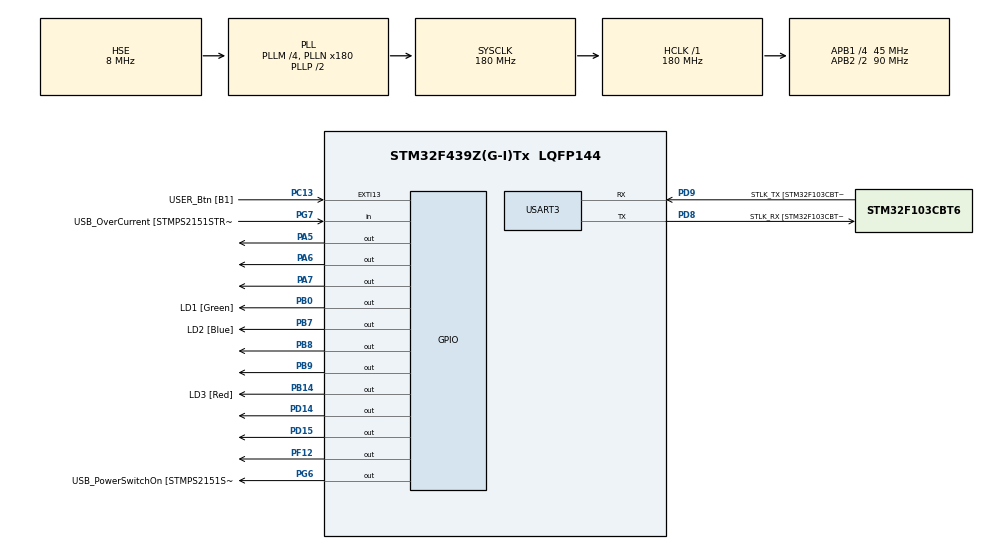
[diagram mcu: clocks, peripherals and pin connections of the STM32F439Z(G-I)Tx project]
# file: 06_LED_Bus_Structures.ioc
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Mcu.Family=STM32F4
Mcu.Name=STM32F439Z(G-I)Tx
Mcu.Package=LQFP144
NVIC.PriorityGroup=NVIC_PRIORITYGROUP_4
PA13.GPIO_Label=TMS
PA13.Mode=Serial_Wire
PA13.Signal=SYS_JTMS-SWDIO
PA14.GPIO_Label=TCK
PA14.Mode=Serial_Wire
PA14.Signal=SYS_JTCK-SWCLK
PA5.Signal=GPIO_Output
PA6.Signal=GPIO_Output
PA7.Signal=GPIO_Output
PB0.GPIO_Label=LD1 [Green]
PB0.Signal=GPIO_Output
PB14.GPIO_Label=LD3 [Red]
PB14.Signal=GPIO_Output
PB7.GPIO_Label=LD2 [Blue]
PB7.Signal=GPIO_Output
PB8.Signal=GPIO_Output
PB9.Signal=GPIO_Output
PC13.GPIO_Label=USER_Btn [B1]
PC13.Signal=GPXTI13
PC14/OSC32_IN.Mode=LSE-External-Oscillator
PC14/OSC32_IN.Signal=RCC_OSC32_IN
PC15/OSC32_OUT.Mode=LSE-External-Oscillator
PC15/OSC32_OUT.Signal=RCC_OSC32_OUT
PD14.Signal=GPIO_Output
PD15.Signal=GPIO_Output
PD8.GPIO_Label=STLK_RX [STM32F103CBT6_PA3]
PD8.Mode=Asynchronous
PD8.Signal=USART3_TX
PD9.GPIO_Label=STLK_TX [STM32F103CBT6_PA2]
PD9.Mode=Asynchronous
PD9.Signal=USART3_RX
PF12.Signal=GPIO_Output
PG6.GPIO_Label=USB_PowerSwitchOn [STMPS2151STR_EN]
PG6.Signal=GPIO_Output
PG7.GPIO_Label=USB_OverCurrent [STMPS2151STR_FAULT]
PG7.Signal=GPIO_Input
PH0/OSC_IN.GPIO_Label=MCO [STM32F103CBT6_PA8]
PH0/OSC_IN.Mode=HSE-External-Oscillator
PH0/OSC_IN.Signal=RCC_OSC_IN
PH1/OSC_OUT.Mode=HSE-External-Oscillator
PH1/OSC_OUT.Signal=RCC_OSC_OUT
ProjectManager.HeapSize=0x200
ProjectManager.StackSize=0x400
ProjectManager.TargetToolchain=STM32CubeIDE
RCC.48MHZClocksFreq_Value=51428571.428571425
RCC.AHBFreq_Value=180000000
RCC.APB1CLKDivider=RCC_HCLK_DIV4
RCC.APB1Freq_Value=45000000
RCC.APB1TimFreq_Value=90000000
RCC.APB2CLKDivider=RCC_HCLK_DIV2
RCC.APB2Freq_Value=90000000
RCC.APB2TimFreq_Value=180000000
RCC.CortexFreq_Value=180000000
RCC.HCLKFreq_Value=180000000
RCC.HSE_VALUE=8000000
RCC.HSI_VALUE=16000000
RCC.PLLM=4
RCC.PLLMUL=RCC_PLL_MUL9
RCC.PLLN=180
RCC.PLLQ=7
RCC.PLLSourceVirtual=RCC_PLLSOURCE_HSE
RCC.PRESCALERUSB=RCC_USBCLKSOURCE_PLL_DIV1_5
RCC.SYSCLKFreq_VALUE=180000000
RCC.SYSCLKSource=RCC_SYSCLKSOURCE_PLLCLK
RCC.SYSCLKSourceVirtual=RCC_SYSCLKSOURCE_PLLCLK
RCC.USBFreq_Value=48000000
RCC.VCOOutputFreq_Value=360000000
USART3.VirtualMode=VM_ASYNC
board=NUCLEO-F439ZI

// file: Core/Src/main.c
/* USER CODE BEGIN Header */
/**
  ******************************************************************************
  * @file           : main.c
  * @brief          : Main program body
  ******************************************************************************
  * @attention
  *
  * Copyright (c) 2026 STMicroelectronics.
  * All rights reserved.
  *
  * This software is licensed under terms that can be found in the LICENSE file
  * in the root directory of this software component.
  * If no LICENSE file comes with this software, it is provided AS-IS.
  *
  ******************************************************************************
  */
/* USER CODE END Header */
#include "main.h"

/* USER CODE BEGIN Includes */

#include <stdio.h>
#include <string.h>

/* USER CODE END Includes */

/* USER CODE BEGIN PTD */

// Representa un pin físico individual
typedef struct {
    GPIO_TypeDef* port;  // GPIOA, GPIOB, etc.
    uint16_t pin;       // GPIO_PIN_0, etc.
} GPIO_Config_t;

// Representa la barra de LEDs genérica
typedef struct {
    GPIO_Config_t* leds; // Puntero a un arreglo de configuraciones
    uint8_t count;       // Cantidad de LEDs
} LedBar_t;

/* USER CODE END PTD */

UART_HandleTypeDef huart3;

/* USER CODE BEGIN PV */

// 1. Definimos los pines físicos (pueden ser de cualquier puerto)
GPIO_Config_t configuracion_leds[] = {
    {GPIOB, GPIO_PIN_8}, {GPIOB, GPIO_PIN_9},
    {GPIOA, GPIO_PIN_5}, {GPIOA, GPIO_PIN_6},
    {GPIOA, GPIO_PIN_7}, {GPIOD, GPIO_PIN_14},
    {GPIOD, GPIO_PIN_15}, {GPIOF, GPIO_PIN_12}
};

// 2. Inicializamos la estructura usando la constante calculada
LedBar_t miBarraGenerica = {configuracion_leds};

// 3. Usamos sizeof para calcular la cantidad de elementos automáticamente
// Fórmula: Tamaño total del arreglo / Tamaño de un solo elemento
#define LED_COUNT (sizeof(configuracion_leds) / sizeof(configuracion_leds[0]))

/* USER CODE END PV */

void SystemClock_Config(void);
static void MX_GPIO_Init(void);
static void MX_USART3_UART_Init(void);
/* USER CODE BEGIN PFP */
/* Prototipos */
void Debug_Log(const char *msg);
/* USER CODE END PFP */

/* USER CODE BEGIN 0 */

void Debug_Log(const char *msg) {
    HAL_UART_Transmit(&huart3, (uint8_t*)msg, strlen(msg), 100);
}

/* USER CODE END 0 */

int main(void)
{

  /* MCU Configuration--------------------------------------------------------*/

  /* Reset of all peripherals, Initializes the Flash interface and the Systick. */
  HAL_Init();

  /* Configure the system clock */
  SystemClock_Config();

  /* Initialize all configured peripherals */
  MX_GPIO_Init();
  MX_USART3_UART_Init();
  /* USER CODE BEGIN 2 */

  char buffer[64];
  Debug_Log("\r\n--- EJEMPLO 06: ESTRUCTURAS + SIZEOF AUTOMÁTICO ---\r\n");

  sprintf(buffer, "Cantidad de LEDs detectada: %u\r\n", LED_COUNT);
  Debug_Log(buffer);

  /* USER CODE END 2 */

  /* Infinite loop */
  while (1)
  {

    /* USER CODE BEGIN 3 */

	  // El bucle for ahora es 100% dinámico
	      for (int i = 0; i < LED_COUNT; i++)
	      {
	          HAL_GPIO_WritePin(miBarraGenerica.leds[i].port,
	                            miBarraGenerica.leds[i].pin,
	                            GPIO_PIN_SET);
	          HAL_Delay(100);
	          HAL_GPIO_WritePin(miBarraGenerica.leds[i].port,
	                            miBarraGenerica.leds[i].pin,
	                            GPIO_PIN_RESET);
	      }

  }
  /* USER CODE END 3 */
}

void SystemClock_Config(void)
{
  RCC_OscInitTypeDef RCC_OscInitStruct = {0};
  RCC_ClkInitTypeDef RCC_ClkInitStruct = {0};

  /** Configure the main internal regulator output voltage
  */
  __HAL_RCC_PWR_CLK_ENABLE();
  __HAL_PWR_VOLTAGESCALING_CONFIG(PWR_REGULATOR_VOLTAGE_SCALE1);

  /** Initializes the RCC Oscillators according to the specified parameters
  * in the RCC_OscInitTypeDef structure.
  */
  RCC_OscInitStruct.OscillatorType = RCC_OSCILLATORTYPE_HSE;
  RCC_OscInitStruct.HSEState = RCC_HSE_ON;
  RCC_OscInitStruct.PLL.PLLState = RCC_PLL_ON;
  RCC_OscInitStruct.PLL.PLLSource = RCC_PLLSOURCE_HSE;
  RCC_OscInitStruct.PLL.PLLM = 4;
  RCC_OscInitStruct.PLL.PLLN = 180;
  RCC_OscInitStruct.PLL.PLLP = RCC_PLLP_DIV2;
  RCC_OscInitStruct.PLL.PLLQ = 7;
  if (HAL_RCC_OscConfig(&RCC_OscInitStruct) != HAL_OK)
  {
    Error_Handler();
  }

  /** Activate the Over-Drive mode
  */
  if (HAL_PWREx_EnableOverDrive() != HAL_OK)
  {
    Error_Handler();
  }

  /** Initializes the CPU, AHB and APB buses clocks
  */
  RCC_ClkInitStruct.ClockType = RCC_CLOCKTYPE_HCLK|RCC_CLOCKTYPE_SYSCLK
                              |RCC_CLOCKTYPE_PCLK1|RCC_CLOCKTYPE_PCLK2;
  RCC_ClkInitStruct.SYSCLKSource = RCC_SYSCLKSOURCE_PLLCLK;
  RCC_ClkInitStruct.AHBCLKDivider = RCC_SYSCLK_DIV1;
  RCC_ClkInitStruct.APB1CLKDivider = RCC_HCLK_DIV4;
  RCC_ClkInitStruct.APB2CLKDivider = RCC_HCLK_DIV2;

  if (HAL_RCC_ClockConfig(&RCC_ClkInitStruct, FLASH_LATENCY_5) != HAL_OK)
  {
    Error_Handler();
  }
}

static void MX_USART3_UART_Init(void)
{

  huart3.Instance = USART3;
  huart3.Init.BaudRate = 115200;
  huart3.Init.WordLength = UART_WORDLENGTH_8B;
  huart3.Init.StopBits = UART_STOPBITS_1;
  huart3.Init.Parity = UART_PARITY_NONE;
  huart3.Init.Mode = UART_MODE_TX_RX;
  huart3.Init.HwFlowCtl = UART_HWCONTROL_NONE;
  huart3.Init.OverSampling = UART_OVERSAMPLING_16;
  if (HAL_UART_Init(&huart3) != HAL_OK)
  {
    Error_Handler();
  }

}

static void MX_GPIO_Init(void)
{
  GPIO_InitTypeDef GPIO_InitStruct = {0};

  /* GPIO Ports Clock Enable */
  __HAL_RCC_GPIOC_CLK_ENABLE();
  __HAL_RCC_GPIOH_CLK_ENABLE();
  __HAL_RCC_GPIOA_CLK_ENABLE();
  __HAL_RCC_GPIOB_CLK_ENABLE();
  __HAL_RCC_GPIOF_CLK_ENABLE();
  __HAL_RCC_GPIOD_CLK_ENABLE();
  __HAL_RCC_GPIOG_CLK_ENABLE();

  /*Configure GPIO pin Output Level */
  HAL_GPIO_WritePin(GPIOA, GPIO_PIN_5|GPIO_PIN_6|GPIO_PIN_7, GPIO_PIN_RESET);

  /*Configure GPIO pin Output Level */
  HAL_GPIO_WritePin(GPIOB, LD1_Pin|LD3_Pin|LD2_Pin|GPIO_PIN_8
                          |GPIO_PIN_9, GPIO_PIN_RESET);

  /*Configure GPIO pin Output Level */
  HAL_GPIO_WritePin(GPIOF, GPIO_PIN_12, GPIO_PIN_RESET);

  /*Configure GPIO pin Output Level */
  HAL_GPIO_WritePin(GPIOD, GPIO_PIN_14|GPIO_PIN_15, GPIO_PIN_RESET);

  /*Configure GPIO pin Output Level */
  HAL_GPIO_WritePin(USB_PowerSwitchOn_GPIO_Port, USB_PowerSwitchOn_Pin, GPIO_PIN_RESET);

  /*Configure GPIO pin : USER_Btn_Pin */
  GPIO_InitStruct.Pin = USER_Btn_Pin;
  GPIO_InitStruct.Mode = GPIO_MODE_IT_RISING;
  GPIO_InitStruct.Pull = GPIO_NOPULL;
  HAL_GPIO_Init(USER_Btn_GPIO_Port, &GPIO_InitStruct);

  /*Configure GPIO pins : PA5 PA6 PA7 */
  GPIO_InitStruct.Pin = GPIO_PIN_5|GPIO_PIN_6|GPIO_PIN_7;
  GPIO_InitStruct.Mode = GPIO_MODE_OUTPUT_PP;
  GPIO_InitStruct.Pull = GPIO_NOPULL;
  GPIO_InitStruct.Speed = GPIO_SPEED_FREQ_LOW;
  HAL_GPIO_Init(GPIOA, &GPIO_InitStruct);

  /*Configure GPIO pins : LD1_Pin LD3_Pin LD2_Pin PB8
                           PB9 */
  GPIO_InitStruct.Pin = LD1_Pin|LD3_Pin|LD2_Pin|GPIO_PIN_8
                          |GPIO_PIN_9;
  GPIO_InitStruct.Mode = GPIO_MODE_OUTPUT_PP;
  GPIO_InitStruct.Pull = GPIO_NOPULL;
  GPIO_InitStruct.Speed = GPIO_SPEED_FREQ_LOW;
  HAL_GPIO_Init(GPIOB, &GPIO_InitStruct);

  /*Configure GPIO pin : PF12 */
  GPIO_InitStruct.Pin = GPIO_PIN_12;
  GPIO_InitStruct.Mode = GPIO_MODE_OUTPUT_PP;
  GPIO_InitStruct.Pull = GPIO_NOPULL;
  GPIO_InitStruct.Speed = GPIO_SPEED_FREQ_LOW;
  HAL_GPIO_Init(GPIOF, &GPIO_InitStruct);

  /*Configure GPIO pins : PD14 PD15 */
  GPIO_InitStruct.Pin = GPIO_PIN_14|GPIO_PIN_15;
  GPIO_InitStruct.Mode = GPIO_MODE_OUTPUT_PP;
  GPIO_InitStruct.Pull = GPIO_NOPULL;
  GPIO_InitStruct.Speed = GPIO_SPEED_FREQ_LOW;
  HAL_GPIO_Init(GPIOD, &GPIO_InitStruct);

  /*Configure GPIO pin : USB_PowerSwitchOn_Pin */
  GPIO_InitStruct.Pin = USB_PowerSwitchOn_Pin;
  GPIO_InitStruct.Mode = GPIO_MODE_OUTPUT_PP;
  GPIO_InitStruct.Pull = GPIO_NOPULL;
  GPIO_InitStruct.Speed = GPIO_SPEED_FREQ_LOW;
  HAL_GPIO_Init(USB_PowerSwitchOn_GPIO_Port, &GPIO_InitStruct);

  /*Configure GPIO pin : USB_OverCurrent_Pin */
  GPIO_InitStruct.Pin = USB_OverCurrent_Pin;
  GPIO_InitStruct.Mode = GPIO_MODE_INPUT;
  GPIO_InitStruct.Pull = GPIO_NOPULL;
  HAL_GPIO_Init(USB_OverCurrent_GPIO_Port, &GPIO_InitStruct);

}

void Error_Handler(void)
{
  __disable_irq();
  while (1)
  {
  }
}
